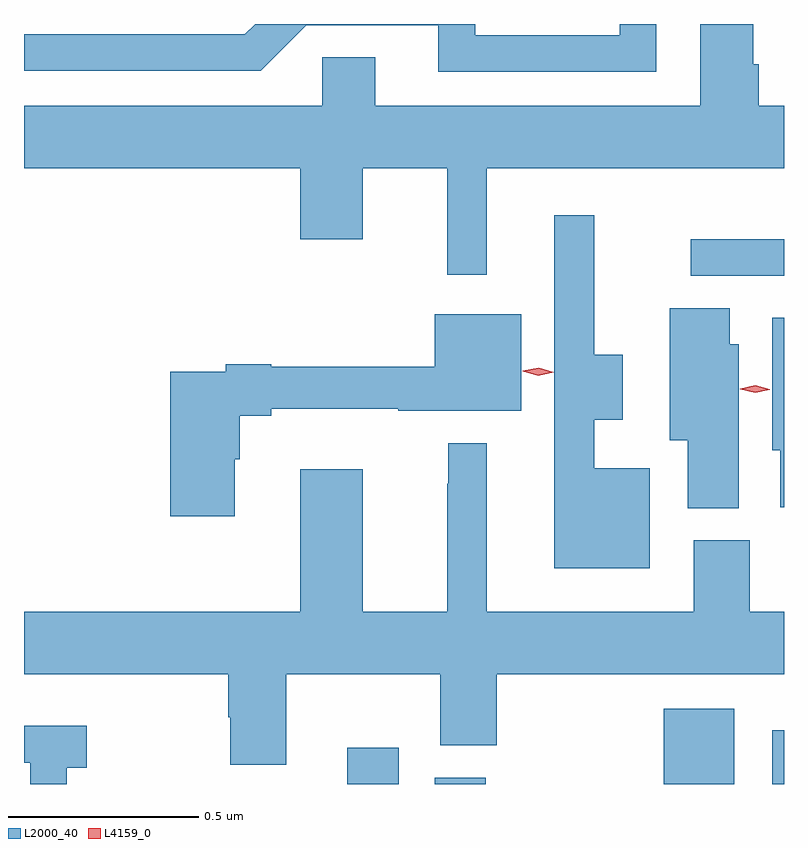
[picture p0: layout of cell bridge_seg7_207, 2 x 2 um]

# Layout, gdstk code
import gdstk
lib = gdstk.Library(unit=1e-6, precision=1e-09)
def R(c, l, rs):  # rectangles x0, y0, x1, y1
    for r in rs: c.add(gdstk.rectangle(r[:2], r[2:], *l))
def P(c, l, *ps):  # polygons
    for p in ps: c.add(gdstk.Polygon(p, *l))
L2000_40 = (2000, 40)
L4159_0 = (4159, 0)

bridge_seg7_207 = lib.new_cell('bridge_seg7_207')
R(bridge_seg7_207, L2000_40, [(117.179,1054.939,117.315,1055.035), (117.41,1054.939,117.544,1054.956), (118.013,1054.939,118.198,1055.137), (118.298,1054.939,118.329,1055.08), (118.083,1056.276,118.329,1056.372)])
P(bridge_seg7_207, L2000_40, [(117.993,1056.939),(117.897,1056.939),(117.897,1056.909),(117.516,1056.909),(117.516,1056.939),(116.937,1056.939),(116.91,1056.912),(116.329,1056.912),(116.329,1056.816),(116.952,1056.816),(117.072,1056.936),(117.419,1056.936),(117.419,1056.813),(117.993,1056.813)],
  [(117.547,1056.56),(118.329,1056.56),(118.329,1056.724),(118.262,1056.724),(118.262,1056.833),(118.248,1056.833),(118.248,1056.939),(118.109,1056.939),(118.109,1056.724),(117.253,1056.724),(117.253,1056.851),(117.114,1056.851),(117.114,1056.724),(116.329,1056.724),(116.329,1056.56),(117.056,1056.56),(117.056,1056.372),(117.22,1056.372),(117.22,1056.56),(117.443,1056.56),(117.443,1056.279),(117.547,1056.279)],
  [(117.976,1055.77),(117.829,1055.77),(117.829,1055.897),(117.904,1055.897),(117.904,1056.068),(117.829,1056.068),(117.829,1056.436),(117.725,1056.436),(117.725,1055.507),(117.976,1055.507)],
  [(118.21,1056.096),(118.186,1056.096),(118.186,1056.191),(118.028,1056.191),(118.028,1055.843),(118.076,1055.843),(118.076,1055.665),(118.21,1055.665)],
  [(116.884,1055.793),(116.897,1055.793),(116.897,1055.908),(116.98,1055.908),(116.98,1055.927),(117.314,1055.927),(117.314,1055.921),(117.637,1055.921),(117.637,1056.175),(117.41,1056.175),(117.41,1056.037),(116.98,1056.037),(116.98,1056.044),(116.86,1056.044),(116.86,1056.024),(116.714,1056.024),(116.714,1055.643),(116.884,1055.643)],
  [(118.329,1056.166),(118.298,1056.166),(118.298,1055.817),(118.319,1055.817),(118.319,1055.667),(118.329,1055.667)],
  [(117.019,1055.228),(117.425,1055.228),(117.425,1055.041),(117.573,1055.041),(117.573,1055.228),(118.329,1055.228),(118.329,1055.392),(118.239,1055.392),(118.239,1055.58),(118.091,1055.58),(118.091,1055.392),(117.547,1055.392),(117.547,1055.836),(117.445,1055.836),(117.445,1055.729),(117.443,1055.729),(117.443,1055.392),(117.22,1055.392),(117.22,1055.767),(117.056,1055.767),(117.056,1055.392),(116.329,1055.392),(116.329,1055.228),(116.867,1055.228),(116.867,1055.115),(116.872,1055.115),(116.872,1054.99),(117.019,1054.99)],
  [(116.442,1054.982),(116.494,1054.982),(116.494,1055.092),(116.329,1055.092),(116.329,1054.995),(116.345,1054.995),(116.345,1054.939),(116.442,1054.939)])
P(bridge_seg7_207, L4159_0, [(118.253,1055.968),(118.214,1055.978),(118.214,1055.979),(118.214,1055.979),(118.253,1055.988),(118.291,1055.978),(118.291,1055.977),(118.291,1055.977)],
  [(117.682,1056.014),(117.641,1056.025),(117.641,1056.026),(117.641,1056.026),(117.683,1056.034),(117.723,1056.023),(117.723,1056.022),(117.723,1056.022)])

lib.write_gds('bridge_seg7_207.gds')
